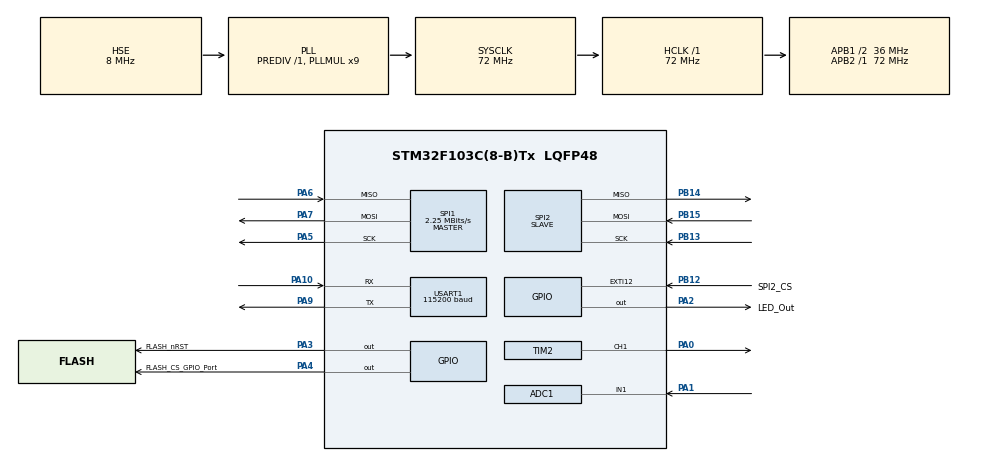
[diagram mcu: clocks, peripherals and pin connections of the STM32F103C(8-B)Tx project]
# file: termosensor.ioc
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ADC1.Channel-0\#ChannelRegularConversion=ADC_CHANNEL_1
ADC1.ExternalTrigConv=ADC_EXTERNALTRIGCONV_T3_TRGO
ADC1.NbrOfConversionFlag=1
ADC1.Rank-0\#ChannelRegularConversion=1
ADC1.SamplingTime-0\#ChannelRegularConversion=ADC_SAMPLETIME_1CYCLE_5
ADC1.master=1
Mcu.Family=STM32F1
Mcu.Name=STM32F103C(8-B)Tx
Mcu.Package=LQFP48
NVIC.ADC1_2_IRQn=true\:1\:0\:true\:false\:true\:true\:true\:true
NVIC.EXTI15_10_IRQn=true\:1\:0\:true\:false\:true\:true\:true\:true
NVIC.PriorityGroup=NVIC_PRIORITYGROUP_4
NVIC.SPI2_IRQn=true\:1\:0\:true\:false\:true\:true\:true\:true
PA0-WKUP.Signal=S_TIM2_CH1_ETR
PA1.Signal=ADCx_IN1
PA10.Mode=Asynchronous
PA10.Signal=USART1_RX
PA13.Mode=Serial_Wire
PA13.Signal=SYS_JTMS-SWDIO
PA14.Mode=Serial_Wire
PA14.Signal=SYS_JTCK-SWCLK
PA2.GPIO_Label=LED_Out
PA2.Signal=GPIO_Output
PA3.GPIO_Label=FLASH_nRST
PA3.Signal=GPIO_Output
PA4.GPIO_Label=FLASH_CS_GPIO_Port
PA4.Signal=GPIO_Output
PA5.Mode=Full_Duplex_Master
PA5.Signal=SPI1_SCK
PA6.Mode=Full_Duplex_Master
PA6.Signal=SPI1_MISO
PA7.Mode=Full_Duplex_Master
PA7.Signal=SPI1_MOSI
PA9.Mode=Asynchronous
PA9.Signal=USART1_TX
PB12.GPIO_Label=SPI2_CS
PB12.GPIO_ModeDefaultEXTI=GPIO_MODE_IT_RISING_FALLING
PB12.GPIO_PuPd=GPIO_NOPULL
PB12.Signal=GPXTI12
PB13.Mode=Full_Duplex_Slave
PB13.Signal=SPI2_SCK
PB14.Mode=Full_Duplex_Slave
PB14.Signal=SPI2_MISO
PB15.Mode=Full_Duplex_Slave
PB15.Signal=SPI2_MOSI
PD0-OSC_IN.Mode=HSE-External-Oscillator
PD0-OSC_IN.Signal=RCC_OSC_IN
PD1-OSC_OUT.Mode=HSE-External-Oscillator
PD1-OSC_OUT.Signal=RCC_OSC_OUT
ProjectManager.HeapSize=0x200
ProjectManager.StackSize=0x400
ProjectManager.TargetToolchain=STM32CubeIDE
RCC.ADCPresc=RCC_ADCPCLK2_DIV6
RCC.AHBFreq_Value=72000000
RCC.APB1CLKDivider=RCC_HCLK_DIV2
RCC.APB1Freq_Value=36000000
RCC.APB1TimFreq_Value=72000000
RCC.APB2Freq_Value=72000000
RCC.APB2TimFreq_Value=72000000
RCC.HCLKFreq_Value=72000000
RCC.PLLMUL=RCC_PLL_MUL9
RCC.PLLSourceVirtual=RCC_PLLSOURCE_HSE
RCC.SYSCLKFreq_VALUE=72000000
RCC.SYSCLKSource=RCC_SYSCLKSOURCE_PLLCLK
RCC.USBFreq_Value=72000000
SH.ADCx_IN1.0=ADC1_IN1,IN1
SH.S_TIM2_CH1_ETR.0=TIM2_CH1,PWM Generation1 CH1
SPI1.BaudRatePrescaler=SPI_BAUDRATEPRESCALER_32
SPI1.CalculateBaudRate=2.25 MBits/s
SPI1.Direction=SPI_DIRECTION_2LINES
SPI1.Mode=SPI_MODE_MASTER
SPI1.VirtualType=VM_MASTER
SPI2.Direction=SPI_DIRECTION_2LINES
SPI2.Mode=SPI_MODE_SLAVE
SPI2.VirtualType=VM_SLAVE
TIM2.Channel-PWM\ Generation1\ CH1=TIM_CHANNEL_1
TIM2.OCPolarity_1=TIM_OCPOLARITY_LOW
TIM2.Period=501
TIM2.Prescaler=72
TIM2.Pulse-PWM\ Generation1\ CH1=1
TIM3.Period=30000
TIM3.Prescaler=65535
TIM3.TIM_MasterOutputTrigger=TIM_TRGO_OC1
USART1.BaudRate=115200
USART1.VirtualMode=VM_ASYNC
VP_TIM2_VS_ClockSourceINT.Mode=Internal
VP_TIM2_VS_OPM.Mode=OPM_bit
VP_TIM3_VS_ClockSourceINT.Mode=Internal
board=custom

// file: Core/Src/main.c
/* USER CODE BEGIN Header */
/**
  ******************************************************************************
  * @file           : main.c
  * @brief          : Main program body
  ******************************************************************************
  * @attention
  *
  * Copyright (c) 2026 STMicroelectronics.
  * All rights reserved.
  *
  * This software is licensed under terms that can be found in the LICENSE file
  * in the root directory of this software component.
  * If no LICENSE file comes with this software, it is provided AS-IS.
  *
  ******************************************************************************
  */
/* USER CODE END Header */
#include "main.h"

/* USER CODE BEGIN Includes */
#include <stdio.h>
#include <string.h>
#include "w25q_spi.h"
#include "SPI_connection.h"
#include "protocol_parser.h"
/* USER CODE END Includes */

ADC_HandleTypeDef hadc1;

SPI_HandleTypeDef hspi1;
SPI_HandleTypeDef hspi2;

TIM_HandleTypeDef htim2;
TIM_HandleTypeDef htim3;

UART_HandleTypeDef huart1;

/* USER CODE BEGIN PV */
extern w25_info_t  w25_info;
uint8_t rx_buf[1025];
uint8_t data_buf[256];
uint8_t tx_buf[10];
extern volatile uint16_t ADC_data;
char need_save = 0; // 0-idle, 1-save data
volatile uint16_t page_ptr = 0;
volatile char new_conv = 0; //new ADC conversion done
uint8_t res_buf[256] = {0};
uint8_t page_pos_ptr = 0; //ptr to free pos in page in WORDS
static float Krt_r25[10] = {4.232, 3.265, 2.539, 1.99, 1.571,
                     1.249, 1.0, 0.8057, 0.6531, 0.5327};
uint8_t dt1[10];
float t; // temperature in C_deg*100
/* USER CODE END PV */

void SystemClock_Config(void);
static void MX_GPIO_Init(void);
static void MX_SPI2_Init(void);
static void MX_USART1_UART_Init(void);
static void MX_ADC1_Init(void);
static void MX_SPI1_Init(void);
static void MX_TIM3_Init(void);
static void MX_TIM2_Init(void);

/* USER CODE BEGIN 0 */

float power(float base, uint8_t pow)
{
  float res = 1;
  for (int i = 0; i < pow; i++)
  {
    res *= pow;
  }
  return res;
}

/* USER CODE END 0 */

int main(void)
{

  /* MCU Configuration--------------------------------------------------------*/

  /* Reset of all peripherals, Initializes the Flash interface and the Systick. */
  HAL_Init();

  /* Configure the system clock */
  SystemClock_Config();

  /* Initialize all configured peripherals */
  MX_GPIO_Init();
  MX_SPI2_Init();
  MX_USART1_UART_Init();
  MX_ADC1_Init();
  MX_SPI1_Init();
  MX_TIM3_Init();
  MX_TIM2_Init();
  /* USER CODE BEGIN 2 */
  HAL_GPIO_WritePin(GPIOA, GPIO_PIN_3 | GPIO_PIN_4, GPIO_PIN_SET);

  // инициализация датчика
  sensorInit();

  // задание значения счетчика для получения данных с АЦП сразу после включения
  __HAL_TIM_SET_COUNTER(&htim3, 29000);
  HAL_TIM_Base_Start(&htim3); //start timer for ADC
  HAL_ADC_Start_IT(&hadc1);
  HAL_ADC_PollForConversion(&hadc1, 100);
  /* USER CODE END 2 */

  /* Infinite loop */
  /* USER CODE BEGIN WHILE */
  while (1)
  {
	  if (spi_rx_complete) { // команда от мастера полностью получена
		  spi_rx_complete = false;
		  // разбор команды
		  parserFSM();
	  }

/*	KSS CODE BEGIN */

	  if(dt1[0] == '0') //erase mem
	  {
      HAL_GPIO_WritePin(GPIOA, GPIO_PIN_2, GPIO_PIN_SET);
      W25_Erase_Chip();
      page_pos_ptr = 0;
      page_ptr = 0;/*
      uint8_t pData[5] = {"0!\r\n"};
      HAL_UART_Transmit(&huart1, pData, 4, 100);*/
    }
    if(dt1[0] == '1') //start measure
    {
      HAL_GPIO_WritePin(GPIOA, GPIO_PIN_2, GPIO_PIN_SET);
      need_save = 1;/*
      uint8_t pData[5] = {"1!\r\n"};
      HAL_UART_Transmit(&huart1, pData, 4, 100);*/
    }
    if(dt1[0] == '2') //stop measure
    {
      HAL_GPIO_WritePin(GPIOA, GPIO_PIN_2, GPIO_PIN_SET);
      need_save = 0;/*
      uint8_t pData[5] = {"2!\r\n"};
      HAL_UART_Transmit(&huart1, pData, 4, 100);*/
    }
    if(dt1[0] == '3') //read mem
    {
      HAL_GPIO_WritePin(GPIOA, GPIO_PIN_2, GPIO_PIN_SET);
      W25_Read_Page(data_buf, dt1[1], 0, w25_info.PageSize);
      HAL_UART_Transmit(&huart1, data_buf, w25_info.PageSize, 100);/*
      uint8_t pData[7] = {"\r\n3!\r\n"};
      HAL_UART_Transmit(&huart1, pData, 6, 100);*/
    }

    dt1[0] = 0;
	HAL_GPIO_WritePin(GPIOA, GPIO_PIN_2, GPIO_PIN_RESET);
	if ((need_save) && (new_conv == 1)) //measure ongoing and new conversion recieved from ADC
	{
	  static union
	  {
		uint16_t word;
		uint8_t bytes[2];
	  } result_data;

	  new_conv = 0; //reset flag
	  uint16_t code = ADC_data;
	  float RT_R25 = (float)(code)/(float)(4095-code); //R_t/R25
	  for ( int i = 9; i >= 0; i-- )
	  {
		if ( Krt_r25[i] >= RT_R25 ) //we are in true band
		{
		  float tga = 5/(Krt_r25[i+1] - Krt_r25[i]); //k = calc td(a)
		  float b = (i-1)*5 - tga*Krt_r25[i]; // calc b = offset
		  t = tga * RT_R25 + b;
		  break;
		}
	  }
	  result_data.word = (uint16_t)(t*100.0);
	  W25_Write_Page(result_data.bytes, page_ptr, page_pos_ptr*2, 2); //save 2 bytes to flash
	  page_pos_ptr++;
	  if (page_pos_ptr == 127) //page is full
	  {
		page_ptr++;
		page_pos_ptr = 0;
	  }
	  HAL_GPIO_TogglePin(GPIOA, GPIO_PIN_2);
	}
	//HAL_Delay(1);

/* KSS CODE END */

    /* USER CODE END WHILE */

  }
}

void SystemClock_Config(void)
{
  RCC_OscInitTypeDef RCC_OscInitStruct = {0};
  RCC_ClkInitTypeDef RCC_ClkInitStruct = {0};
  RCC_PeriphCLKInitTypeDef PeriphClkInit = {0};

  /** Initializes the RCC Oscillators according to the specified parameters
  * in the RCC_OscInitTypeDef structure.
  */
  RCC_OscInitStruct.OscillatorType = RCC_OSCILLATORTYPE_HSE;
  RCC_OscInitStruct.HSEState = RCC_HSE_ON;
  RCC_OscInitStruct.HSEPredivValue = RCC_HSE_PREDIV_DIV1;
  RCC_OscInitStruct.HSIState = RCC_HSI_ON;
  RCC_OscInitStruct.PLL.PLLState = RCC_PLL_ON;
  RCC_OscInitStruct.PLL.PLLSource = RCC_PLLSOURCE_HSE;
  RCC_OscInitStruct.PLL.PLLMUL = RCC_PLL_MUL9;
  if (HAL_RCC_OscConfig(&RCC_OscInitStruct) != HAL_OK)
  {
    Error_Handler();
  }

  /** Initializes the CPU, AHB and APB buses clocks
  */
  RCC_ClkInitStruct.ClockType = RCC_CLOCKTYPE_HCLK|RCC_CLOCKTYPE_SYSCLK
                              |RCC_CLOCKTYPE_PCLK1|RCC_CLOCKTYPE_PCLK2;
  RCC_ClkInitStruct.SYSCLKSource = RCC_SYSCLKSOURCE_PLLCLK;
  RCC_ClkInitStruct.AHBCLKDivider = RCC_SYSCLK_DIV1;
  RCC_ClkInitStruct.APB1CLKDivider = RCC_HCLK_DIV2;
  RCC_ClkInitStruct.APB2CLKDivider = RCC_HCLK_DIV1;

  if (HAL_RCC_ClockConfig(&RCC_ClkInitStruct, FLASH_LATENCY_2) != HAL_OK)
  {
    Error_Handler();
  }
  PeriphClkInit.PeriphClockSelection = RCC_PERIPHCLK_ADC;
  PeriphClkInit.AdcClockSelection = RCC_ADCPCLK2_DIV6;
  if (HAL_RCCEx_PeriphCLKConfig(&PeriphClkInit) != HAL_OK)
  {
    Error_Handler();
  }
}

static void MX_ADC1_Init(void)
{

  ADC_ChannelConfTypeDef sConfig = {0};

  /** Common config
  */
  hadc1.Instance = ADC1;
  hadc1.Init.ScanConvMode = ADC_SCAN_DISABLE;
  hadc1.Init.ContinuousConvMode = DISABLE;
  hadc1.Init.DiscontinuousConvMode = DISABLE;
  hadc1.Init.ExternalTrigConv = ADC_EXTERNALTRIGCONV_T3_TRGO;
  hadc1.Init.DataAlign = ADC_DATAALIGN_RIGHT;
  hadc1.Init.NbrOfConversion = 1;
  if (HAL_ADC_Init(&hadc1) != HAL_OK)
  {
    Error_Handler();
  }

  /** Configure Regular Channel
  */
  sConfig.Channel = ADC_CHANNEL_1;
  sConfig.Rank = ADC_REGULAR_RANK_1;
  sConfig.SamplingTime = ADC_SAMPLETIME_1CYCLE_5;
  if (HAL_ADC_ConfigChannel(&hadc1, &sConfig) != HAL_OK)
  {
    Error_Handler();
  }

}

static void MX_SPI1_Init(void)
{

  /* SPI1 parameter configuration*/
  hspi1.Instance = SPI1;
  hspi1.Init.Mode = SPI_MODE_MASTER;
  hspi1.Init.Direction = SPI_DIRECTION_2LINES;
  hspi1.Init.DataSize = SPI_DATASIZE_8BIT;
  hspi1.Init.CLKPolarity = SPI_POLARITY_LOW;
  hspi1.Init.CLKPhase = SPI_PHASE_1EDGE;
  hspi1.Init.NSS = SPI_NSS_SOFT;
  hspi1.Init.BaudRatePrescaler = SPI_BAUDRATEPRESCALER_32;
  hspi1.Init.FirstBit = SPI_FIRSTBIT_MSB;
  hspi1.Init.TIMode = SPI_TIMODE_DISABLE;
  hspi1.Init.CRCCalculation = SPI_CRCCALCULATION_DISABLE;
  hspi1.Init.CRCPolynomial = 10;
  if (HAL_SPI_Init(&hspi1) != HAL_OK)
  {
    Error_Handler();
  }

}

static void MX_SPI2_Init(void)
{

  /* SPI2 parameter configuration*/
  hspi2.Instance = SPI2;
  hspi2.Init.Mode = SPI_MODE_SLAVE;
  hspi2.Init.Direction = SPI_DIRECTION_2LINES;
  hspi2.Init.DataSize = SPI_DATASIZE_8BIT;
  hspi2.Init.CLKPolarity = SPI_POLARITY_LOW;
  hspi2.Init.CLKPhase = SPI_PHASE_1EDGE;
  hspi2.Init.NSS = SPI_NSS_SOFT;
  hspi2.Init.FirstBit = SPI_FIRSTBIT_MSB;
  hspi2.Init.TIMode = SPI_TIMODE_DISABLE;
  hspi2.Init.CRCCalculation = SPI_CRCCALCULATION_DISABLE;
  hspi2.Init.CRCPolynomial = 10;
  if (HAL_SPI_Init(&hspi2) != HAL_OK)
  {
    Error_Handler();
  }

}

static void MX_TIM2_Init(void)
{

  TIM_ClockConfigTypeDef sClockSourceConfig = {0};
  TIM_MasterConfigTypeDef sMasterConfig = {0};
  TIM_OC_InitTypeDef sConfigOC = {0};

  htim2.Instance = TIM2;
  htim2.Init.Prescaler = 72;
  htim2.Init.CounterMode = TIM_COUNTERMODE_UP;
  htim2.Init.Period = 501;
  htim2.Init.ClockDivision = TIM_CLOCKDIVISION_DIV1;
  htim2.Init.AutoReloadPreload = TIM_AUTORELOAD_PRELOAD_DISABLE;
  if (HAL_TIM_Base_Init(&htim2) != HAL_OK)
  {
    Error_Handler();
  }
  sClockSourceConfig.ClockSource = TIM_CLOCKSOURCE_INTERNAL;
  if (HAL_TIM_ConfigClockSource(&htim2, &sClockSourceConfig) != HAL_OK)
  {
    Error_Handler();
  }
  if (HAL_TIM_PWM_Init(&htim2) != HAL_OK)
  {
    Error_Handler();
  }
  if (HAL_TIM_OnePulse_Init(&htim2, TIM_OPMODE_SINGLE) != HAL_OK)
  {
    Error_Handler();
  }
  sMasterConfig.MasterOutputTrigger = TIM_TRGO_RESET;
  sMasterConfig.MasterSlaveMode = TIM_MASTERSLAVEMODE_DISABLE;
  if (HAL_TIMEx_MasterConfigSynchronization(&htim2, &sMasterConfig) != HAL_OK)
  {
    Error_Handler();
  }
  sConfigOC.OCMode = TIM_OCMODE_PWM1;
  sConfigOC.Pulse = 1;
  sConfigOC.OCPolarity = TIM_OCPOLARITY_LOW;
  sConfigOC.OCFastMode = TIM_OCFAST_DISABLE;
  if (HAL_TIM_PWM_ConfigChannel(&htim2, &sConfigOC, TIM_CHANNEL_1) != HAL_OK)
  {
    Error_Handler();
  }
  HAL_TIM_MspPostInit(&htim2);

}

static void MX_TIM3_Init(void)
{

  TIM_ClockConfigTypeDef sClockSourceConfig = {0};
  TIM_MasterConfigTypeDef sMasterConfig = {0};

  htim3.Instance = TIM3;
  htim3.Init.Prescaler = 65535;
  htim3.Init.CounterMode = TIM_COUNTERMODE_UP;
  htim3.Init.Period = 30000;
  htim3.Init.ClockDivision = TIM_CLOCKDIVISION_DIV1;
  htim3.Init.AutoReloadPreload = TIM_AUTORELOAD_PRELOAD_DISABLE;
  if (HAL_TIM_Base_Init(&htim3) != HAL_OK)
  {
    Error_Handler();
  }
  sClockSourceConfig.ClockSource = TIM_CLOCKSOURCE_INTERNAL;
  if (HAL_TIM_ConfigClockSource(&htim3, &sClockSourceConfig) != HAL_OK)
  {
    Error_Handler();
  }
  sMasterConfig.MasterOutputTrigger = TIM_TRGO_OC1;
  sMasterConfig.MasterSlaveMode = TIM_MASTERSLAVEMODE_DISABLE;
  if (HAL_TIMEx_MasterConfigSynchronization(&htim3, &sMasterConfig) != HAL_OK)
  {
    Error_Handler();
  }

}

static void MX_USART1_UART_Init(void)
{

  huart1.Instance = USART1;
  huart1.Init.BaudRate = 115200;
  huart1.Init.WordLength = UART_WORDLENGTH_8B;
  huart1.Init.StopBits = UART_STOPBITS_1;
  huart1.Init.Parity = UART_PARITY_NONE;
  huart1.Init.Mode = UART_MODE_TX_RX;
  huart1.Init.HwFlowCtl = UART_HWCONTROL_NONE;
  huart1.Init.OverSampling = UART_OVERSAMPLING_16;
  if (HAL_UART_Init(&huart1) != HAL_OK)
  {
    Error_Handler();
  }

}

static void MX_GPIO_Init(void)
{
  GPIO_InitTypeDef GPIO_InitStruct = {0};

  /* GPIO Ports Clock Enable */
  __HAL_RCC_GPIOD_CLK_ENABLE();
  __HAL_RCC_GPIOA_CLK_ENABLE();
  __HAL_RCC_GPIOB_CLK_ENABLE();

  /*Configure GPIO pin Output Level */
  HAL_GPIO_WritePin(GPIOA, LED_Out_Pin|FLASH_nRST_Pin|FLASH_CS_GPIO_Port_Pin, GPIO_PIN_RESET);

  /*Configure GPIO pins : LED_Out_Pin FLASH_nRST_Pin FLASH_CS_GPIO_Port_Pin */
  GPIO_InitStruct.Pin = LED_Out_Pin|FLASH_nRST_Pin|FLASH_CS_GPIO_Port_Pin;
  GPIO_InitStruct.Mode = GPIO_MODE_OUTPUT_PP;
  GPIO_InitStruct.Pull = GPIO_NOPULL;
  GPIO_InitStruct.Speed = GPIO_SPEED_FREQ_LOW;
  HAL_GPIO_Init(GPIOA, &GPIO_InitStruct);

  /*Configure GPIO pin : SPI2_CS_Pin */
  GPIO_InitStruct.Pin = SPI2_CS_Pin;
  GPIO_InitStruct.Mode = GPIO_MODE_IT_RISING_FALLING;
  GPIO_InitStruct.Pull = GPIO_NOPULL;
  HAL_GPIO_Init(SPI2_CS_GPIO_Port, &GPIO_InitStruct);

  /* EXTI interrupt init*/
  HAL_NVIC_SetPriority(EXTI15_10_IRQn, 1, 0);
  HAL_NVIC_EnableIRQ(EXTI15_10_IRQn);

}

void Error_Handler(void)
{
  __disable_irq();
  while (1)
  {
  }
}
